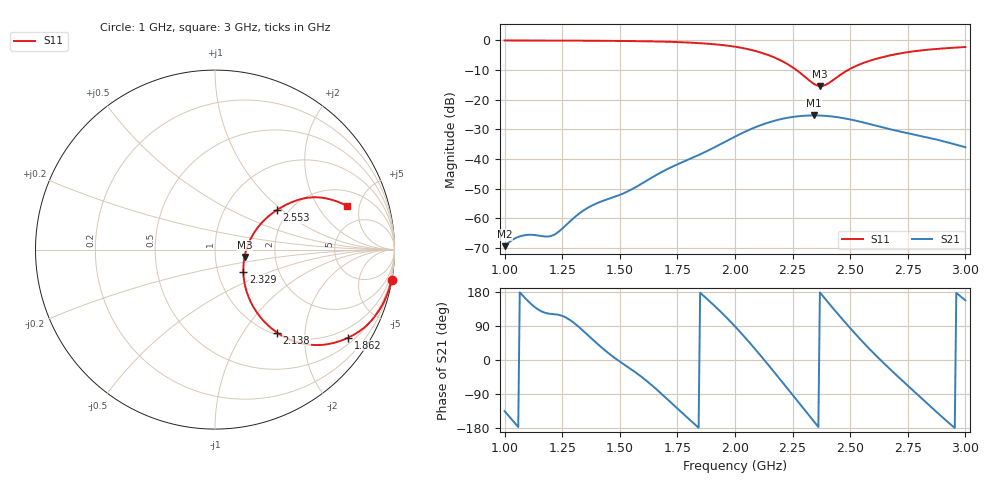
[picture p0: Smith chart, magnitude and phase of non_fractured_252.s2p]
! TOUCHSTONE file generated by CST MICROWAVE STUDIO
! Date and time: Sat Mar  8 13:55:50 2025
! Project name: non_fractured.cst
! Parameters = {B=2.5; D=160; F=5; Feed=2.85625; L=100; M=30; R=0.384908; S=2; Theta=270; length=57.125; wave=114.25}
! Header version: 2024
! Port assignment regex: !\s*Touchstone port\s*([0-9]+)\s*=\s*(CST MWS port|CST DES external port|CST DES block port)\s*(.+)\s* \(\"(.*)\"\)(\s*mode\s*([0-9]+))?.*
! Touchstone port assignment:
! Touchstone port 1 = CST MWS port 1 ("")
! Touchstone port 2 = CST MWS port 2 ("")
# GHz S DB R 50
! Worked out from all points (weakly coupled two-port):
!   305 points, 1 GHz to 3 GHz, reference 50 ohm
!   highest |S21| = -25.31 dB at 2.342 GHz (marker M1); lowest = -69.4 dB at 1 GHz (marker M2)
!   lowest |S11| = -15.4 dB at 2.368 GHz (marker M3), VSWR 1.41, Z = 69.4 - j5.85 ohm
!   |S11| at or under -10 dB: 2.267 GHz to 2.49 GHz (223.6 MHz wide, 9.4 % of centre)
!   S12 and S22 are empty: the file has one direction only
!   S11 on the Smith chart (normalised r, x): 1 GHz: 0, -12; 1.862 GHz: 0.68, -3.20; 2.138 GHz: 1.04, -1.44; 2.329 GHz: 1.32, -0.35; 2.553 GHz: 1.74, +0.93; 3 GHz: 3.08, +3.73
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1  -0.02 -9.8  -69.41 -134.9  -200.00 0.0  -200.00 0.0
1.03947  -0.02 -10.3  -67.01 -163.0  -200.00 0.0  -200.00 0.0
1.07895  -0.03 -10.8  -65.81 169.8  -200.00 0.0  -200.00 0.0
1.21053  -0.05 -12.9  -65.71 121.2  -200.00 0.0  -200.00 0.0
1.33553  -0.09 -15.2  -57.73 80.0  -200.00 0.0  -200.00 0.0
1.39474  -0.11 -16.4  -55.13 47.1  -200.00 0.0  -200.00 0.0
1.53947  -0.21 -20.1  -50.73 -20.5  -200.00 0.0  -200.00 0.0
1.67105  -0.38 -24.4  -44.86 -83.8  -200.00 0.0  -200.00 0.0
1.86184  -1.01 -33.4  -37.95 170.4  -200.00 0.0  -200.00 0.0
2  -2.13 -42.8  -32.45 88.7  -200.00 0.0  -200.00 0.0
2.13816  -4.77 -53.2  -27.87 -8.2  -200.00 0.0  -200.00 0.0
2.23684  -8.42 -56.2  -25.98 -82.3  -200.00 0.0  -200.00 0.0
2.32895  -13.91 -38.4  -25.32 -152.0  -200.00 0.0  -200.00 0.0
2.33553  -14.30 -35.1  -25.31 -157.0  -200.00 0.0  -200.00 0.0
2.34211  -14.64 -31.5  -25.31 -161.9  -200.00 0.0  -200.00 0.0
2.36842  -15.42 -14.0  -25.35 178.4  -200.00 0.0  -200.00 0.0
2.40132  -14.68 7.6  -25.51 154.1  -200.00 0.0  -200.00 0.0
2.46053  -11.44 27.3  -26.09 111.4  -200.00 0.0  -200.00 0.0
2.55263  -7.74 32.6  -27.59 48.9  -200.00 0.0  -200.00 0.0
2.67105  -5.09 30.4  -29.92 -23.1  -200.00 0.0  -200.00 0.0
2.82237  -3.25 24.4  -32.50 -108.1  -200.00 0.0  -200.00 0.0
3  -2.24 18.4  -36.02 157.3  -200.00 0.0  -200.00 0.0
